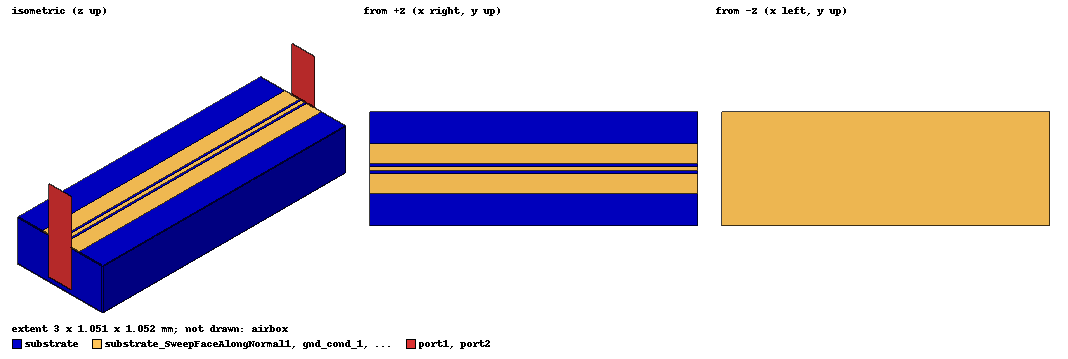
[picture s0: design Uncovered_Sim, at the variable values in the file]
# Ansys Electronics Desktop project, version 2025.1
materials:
  vacuum: permittivity=1
  sapphire: permittivity=9.4 dielectric_loss_tangent=2e-05
  air: permittivity=1.0006 permeability=1.0000004
  gold: permeability=0.99996 conductivity=41000000
  gallium_arsenide: permittivity=12.9 conductivity=1e-05 dielectric_loss_tangent=0.0001
  pec: conductivity=1e+30

design Uncovered_Sim (HFSS, HFSS Terminal Network, model units mm)
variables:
  subx = 3mm
  suby = s + 2*(g+gnd_width) + 600um
  subz = 500um
  s = 40um  # optimise 13.5um..40.5um; tune 13.5um..40.5um
  g = 25.5um
  gnd_width = 180um
  Tmet = 2um
  air_box_h = subz + 15000um
  porty = 3*(2*g+s)
  portz = 2*subz
  airx = subx
  airy = suby+15000um
  abpillarx = 20um
  abpillary = 20um
  abpillarz = 4um
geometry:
  substrate [sapphire] = box(corner=(-subx/2, -suby/2, 0mm), size=(subx, suby, subz))
  signal_dummy [vacuum, non-model] = substrate.section(plane=ZX)
  signal_dummy.thicken(s, both sides)
  gap_dummy1 [vacuum, non-model] = sweep_along_normal(signal_dummy.face(at (0, -0.02, 0.25)), length=g)
  gap_dummy2 [vacuum, non-model] = sweep_along_normal(signal_dummy.face(at (0, 0.02, 0.25)), length=g)
  gnd_dummy1 [vacuum, non-model] = sweep_along_normal(gap_dummy1.face(at (0, -0.0455, 0.25)), length=gnd_width)
  gnd_dummy2 [vacuum, non-model] = sweep_along_normal(gap_dummy2.face(at (0, 0.0455, 0.25)), length=gnd_width)
  signal_conductor [gold, solve inside] = sweep_along_normal(signal_dummy.face(at (0, 0, 0.5)), length=Tmet)
  gnd_cond_1 [gold, solve inside] = sweep_along_normal(gnd_dummy1.face(at (0, -0.1355, 0.5)), length=Tmet)
  gnd_cond_2 [gold, solve inside] = sweep_along_normal(gnd_dummy2.face(at (0, 0.1355, 0.5)), length=Tmet)
  port1 = rectangle(corner=(subx/2, -porty/2, 50um), y_size=porty, z_size=portz)
  port2 = rectangle(corner=(-subx/2, -porty/2, 50um), y_size=porty, z_size=portz)
  airbox [air] = box(corner=(-airx/2, -airy/2, -air_box_h/2), size=(airx, airy, air_box_h))
  airbridge1 [gold, non-model] = box(corner=(2mm, 0mm, 0mm), size=(abpillarx, abpillary, abpillarz))
  Box3 = box(corner=(2mm+abpillarx +2*g+s, 0mm, 0mm), size=(abpillarx, abpillary, abpillarz))
  Box4 = box(corner=(2mm, 0.02mm -abpillary, 0.004mm), size=(2*abpillarx +2*g+s, abpillary, 2um))
  airbridge1.unite(Box3, Box4)
  airbridge1.move(-2mm, 0mm, subz+Tmet)
  airbridge1.rotate(axis=Z, angle=90deg)
  airbridge1.move(0.01mm, -0.0785mm, 0mm)
  airbridge3 [gold, non-model] = box(corner=(2mm, 0mm, 0mm), size=(abpillarx, abpillary, abpillarz))
  Box6 = box(corner=(2mm+abpillarx +2*g+s, 0mm, 0mm), size=(abpillarx, abpillary, abpillarz))
  Box7 = box(corner=(2mm, 0.02mm -abpillary, 0.004mm), size=(2*abpillarx +2*g+s, abpillary, 2um))
  airbridge3.unite(Box6, Box7)
  airbridge3.move(-2mm, 0mm, subz+Tmet)
  airbridge3.rotate(axis=Z, angle=90deg)
  airbridge3.move(0.01mm, -0.0785mm, 0mm)
  airbridge2 [gold, non-model] = box(corner=(2mm, 0mm, 0mm), size=(abpillarx, abpillary, abpillarz))
  Box9 = box(corner=(2mm+abpillarx +2*g+s, 0mm, 0mm), size=(abpillarx, abpillary, abpillarz))
  Box10 = box(corner=(2mm, 0.02mm -abpillary, 0.004mm), size=(2*abpillarx +2*g+s, abpillary, 2um))
  airbridge2.unite(Box9, Box10)
  airbridge2.move(-2mm, 0mm, subz+Tmet)
  airbridge2.rotate(axis=Z, angle=90deg)
  airbridge2.move(0.01mm, -0.0785mm, 0mm)
  airbridge2.move(-350um, 0mm, 0mm)
  airbridge3.move(350um, 0mm, 0mm)
  airbridge4 [gold, non-model] = box(corner=(2mm, 0mm, 0mm), size=(abpillarx, abpillary, abpillarz))
  Box11 = box(corner=(2mm+abpillarx +2*g+s, 0mm, 0mm), size=(abpillarx, abpillary, abpillarz))
  Box12 = box(corner=(2mm, 0.02mm -abpillary, 0.004mm), size=(2*abpillarx +2*g+s, abpillary, 2um))
  airbridge4.unite(Box11, Box12)
  airbridge4.move(-2mm, 0mm, subz+Tmet)
  airbridge4.rotate(axis=Z, angle=90deg)
  airbridge4.move(0.01mm, -0.0785mm, 0mm)
  airbridge5 [gold, non-model] = box(corner=(2mm, 0mm, 0mm), size=(abpillarx, abpillary, abpillarz))
  Box13 = box(corner=(2mm+abpillarx +2*g+s, 0mm, 0mm), size=(abpillarx, abpillary, abpillarz))
  Box14 = box(corner=(2mm, 0.02mm -abpillary, 0.004mm), size=(2*abpillarx +2*g+s, abpillary, 2um))
  airbridge5.unite(Box13, Box14)
  airbridge5.move(-2mm, 0mm, subz+Tmet)
  airbridge5.rotate(axis=Z, angle=90deg)
  airbridge5.move(0.01mm, -0.0785mm, 0mm)
  airbridge4.move(-700um, 0mm, 0mm)
  airbridge5.move(700um, 0mm, 0mm)
  airbridge6 [gold, non-model] = box(corner=(2mm, 0mm, 0mm), size=(abpillarx, abpillary, abpillarz))
  Box15 = box(corner=(2mm+abpillarx +2*g+s, 0mm, 0mm), size=(abpillarx, abpillary, abpillarz))
  Box16 = box(corner=(2mm, 0.02mm -abpillary, 0.004mm), size=(2*abpillarx +2*g+s, abpillary, 2um))
  airbridge6.unite(Box15, Box16)
  airbridge6.move(-2mm, 0mm, subz+Tmet)
  airbridge6.rotate(axis=Z, angle=90deg)
  airbridge6.move(0.01mm, -0.0785mm, 0mm)
  airbridge6.move(-1050um, 0mm, 0mm)
  airbridge7 [gold, non-model] = box(corner=(2mm, 0mm, 0mm), size=(abpillarx, abpillary, abpillarz))
  Box17 = box(corner=(2mm+abpillarx +2*g+s, 0mm, 0mm), size=(abpillarx, abpillary, abpillarz))
  Box18 = box(corner=(2mm, 0.02mm -abpillary, 0.004mm), size=(2*abpillarx +2*g+s, abpillary, 2um))
  airbridge7.unite(Box17, Box18)
  airbridge7.move(-2mm, 0mm, subz+Tmet)
  airbridge7.rotate(axis=Z, angle=90deg)
  airbridge7.move(0.01mm, -0.0785mm, 0mm)
  airbridge7.move(1050um, 0mm, 0mm)
  substrate_SweepFaceAlongNormal1 [gold, solve inside] = sweep_along_normal(substrate.face(-z), length=2um)
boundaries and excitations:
  Rad1: Radiation Faces=airbox.face(-y, +z, -z, +y)
  Rad2: Radiation Faces=airbox.face(+x, -x)
  PerfE1: Perfect E Faces=substrate_SweepFaceAlongNormal1.face(at (0, 0, -0.002))
  1: Wave Port Objects=port1 WavePortType=Modal NumModes=1 Modes{Mode1{IntLine{(1.5, 0.02, 0.502) -> (1.5, 0.0455, 0.502)} CharImp=Zpv RenormImp=50ohm}}
  2: Wave Port Objects=port2 WavePortType=Modal NumModes=1 Modes{Mode1{IntLine{(-1.5, 0.02, 0.502) -> (-1.5, 0.0455, 0.502)} CharImp=Zpv RenormImp=50ohm}}
  reference conductors: gnd_cond_1, gnd_cond_2
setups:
  broadband: HfssDriven MultipleAdaptiveFreqsSetup{Low=5GHz High=40GHz} MaxDeltaS=0.02 MaximumPasses=15 MinimumPasses=1 MinimumConvergedPasses=1 PercentRefinement=30 BasisOrder=1 PortAccuracy=0.1 UseABCOnPort DrivenSolverType="Direct Solver"
    sweep intepolating: 1GHz to 45GHz, 801 points; Type=Interpolating SaveFields InterpTolerance=0.5 InterpMaxSolns=250 PassivityErrorTolerance=0.0001
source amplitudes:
  1:1: 1V 0deg
  2:1: 0V 0deg
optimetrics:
  gnd_width: Parametric Sim._Setups=[broadband]
    sweep gnd_width: LIN 40um 200um 40um
  slotwidths: Parametric Sim._Setups=[broadband]
    sweep g: LIN 16.5um 25.5um 2um
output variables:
  Zo = 50*(1 + re(St(signal_conductor_T1,signal_conductor_T1)))/(1-re(St(signal_conductor_T1,signal_conductor_T1)))
  lost_power_fraction = 1-(mag(St(1,1))^2 + mag(St(2,1))^2)
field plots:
  Mag_E1: E Field on broadband : intepolating at Freq=42.25GHz Phase=0deg
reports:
  Terminal S Parameter Plot1: dB(St(1,1)) vs Freq on broadband : intepolating [g=20.5um,22.5um,24.5um,25.5um]
  Terminal S Parameter Plot2: dB(St(2,1)) vs Freq on broadband : intepolating [g=20.5um,22.5um,24.5um,25.5um]
  Output Variables Plot1: lost_power_fraction vs Freq on broadband : intepolating [g=20.5um,22.5um,24.5um,25.5um]
